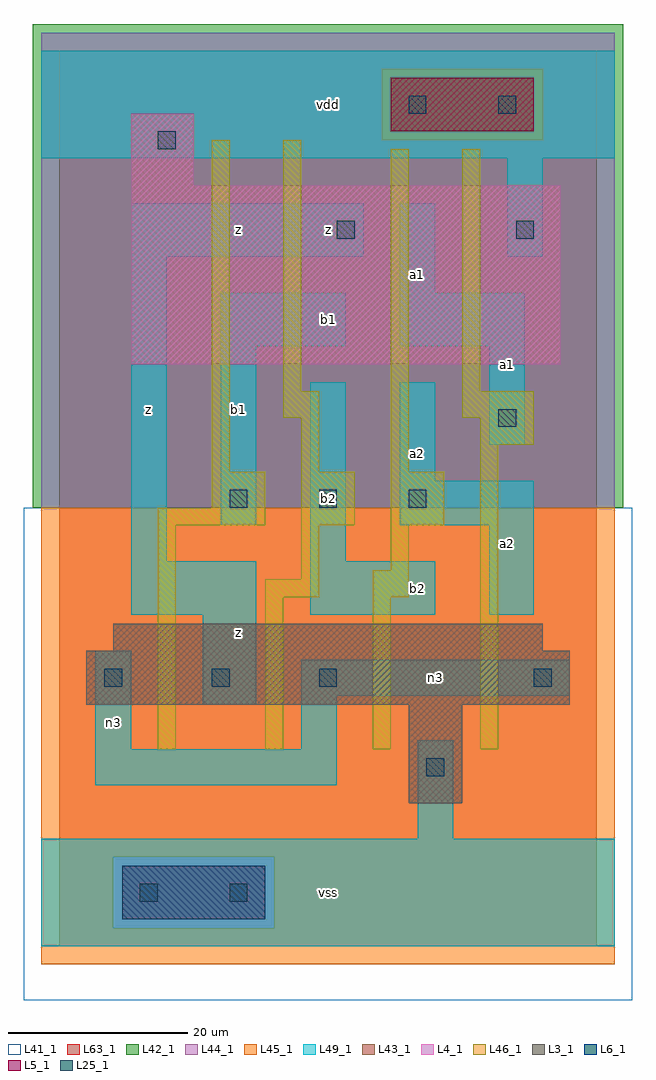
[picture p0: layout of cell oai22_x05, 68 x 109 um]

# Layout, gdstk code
import gdstk
lib = gdstk.Library(unit=1e-6, precision=1e-09)
def R(c, l, rs):  # rectangles x0, y0, x1, y1
    for r in rs: c.add(gdstk.rectangle(r[:2], r[2:], *l))
def A(c, l, x, y, w, h, nx, ny, dx, dy):  # array of equal rectangles
    R(c, l, [(x+i*dx, y+j*dy, x+i*dx+w, y+j*dy+h) for i in range(nx) for j in range(ny)])
L3_1 = (3, 1)
L4_1 = (4, 1)
L5_1 = (5, 1)
L6_1 = (6, 1)
L25_1 = (25, 1)
L41_1 = (41, 1)
L42_1 = (42, 1)
L43_1 = (43, 1)
L44_1 = (44, 1)
L45_1 = (45, 1)
L46_1 = (46, 1)
L49_1 = (49, 1)
L63_1 = (63, 1)

oai22_x05 = lib.new_cell('oai22_x05')
R(oai22_x05, L3_1, [(39,16,45,27), (3,27,57,33), (6,33,54,36)])
R(oai22_x05, L4_1, [(8,65,56,85), (8,85,15,93)])
R(oai22_x05, L5_1, [(37,91,53,97)])
R(oai22_x05, L6_1, [(7,3,23,9)])
A(oai22_x05, L25_1, 5, 29, 2, 2, 3, 1, 12, 0)
A(oai22_x05, L25_1, 19, 49, 2, 2, 3, 1, 10, 0)
R(oai22_x05, L25_1, [(9,5,11,7), (19,5,21,7), (41,19,43,21), (53,29,55,31), (49,58,51,60), (31,79,33,81), (51,79,53,81), (11,89,13,91), (39,93,41,95), (49,93,51,95)])
R(oai22_x05, L41_1, [(-4,-6,64,49), (-3,-3,63,49)])
R(oai22_x05, L42_1, [(-3,49,63,103)])
R(oai22_x05, L43_1, [(7,3,23,9), (39,16,45,27), (3,27,57,33), (6,33,54,36), (8,65,56,85), (8,85,15,93), (37,91,53,97)])
R(oai22_x05, L44_1, [(6,2,24,10), (-2,49,62,90), (-2,90,36,98), (54,90,62,98), (-2,98,62,102)])
R(oai22_x05, L45_1, [(-2,-2,62,2), (-2,2,6,10), (24,2,62,10), (-2,10,62,49), (36,90,54,98)])
R(oai22_x05, L46_1, [(11,22,13,47), (23,22,25,39), (35,22,37,39), (47,22,49,56), (23,39,29,41), (35,39,39,42), (27,41,29,47), (37,42,39,47), (11,47,23,49), (27,47,33,53), (37,47,43,53), (17,49,23,53), (17,53,19,90), (27,53,29,59), (37,53,39,89), (47,56,53,59), (25,59,29,62), (45,59,53,62), (25,62,27,90), (45,62,47,89)])
R(oai22_x05, L49_1, [(-2,0,62,12), (40,12,44,23), (4,18,31,22), (4,22,8,33), (27,22,31,28), (16,27,22,37), (27,28,57,32), (8,37,22,43), (28,37,42,43), (48,37,53,47), (8,43,12,77), (28,43,32,63), (18,47,22,67), (38,47,53,52), (38,52,42,63), (48,56,52,67), (18,67,32,73), (38,67,52,73), (38,73,42,83), (8,77,34,83), (50,77,54,88), (-2,88,62,100)])
R(oai22_x05, L63_1, [(0,0,60,100)])
oai22_x05.add(gdstk.Label('n3', (6,25), layer=49, texttype=1))
oai22_x05.add(gdstk.Label('z', (20,35), layer=49, texttype=1))
oai22_x05.add(gdstk.Label('z', (20,35), layer=49, texttype=1))
oai22_x05.add(gdstk.Label('b1', (20,60), layer=49, texttype=1))
oai22_x05.add(gdstk.Label('b1', (20,60), layer=49, texttype=1))
oai22_x05.add(gdstk.Label('z', (10,60), layer=49, texttype=1))
oai22_x05.add(gdstk.Label('z', (10,60), layer=49, texttype=1))
oai22_x05.add(gdstk.Label('z', (20,80), layer=49, texttype=1))
oai22_x05.add(gdstk.Label('z', (20,80), layer=49, texttype=1))
oai22_x05.add(gdstk.Label('vss', (30,6), layer=49, texttype=1))
oai22_x05.add(gdstk.Label('vss', (30,6), layer=49, texttype=1))
oai22_x05.add(gdstk.Label('b2', (30,50), layer=49, texttype=1))
oai22_x05.add(gdstk.Label('b2', (30,50), layer=49, texttype=1))
oai22_x05.add(gdstk.Label('b1', (30,70), layer=49, texttype=1))
oai22_x05.add(gdstk.Label('b1', (30,70), layer=49, texttype=1))
oai22_x05.add(gdstk.Label('z', (30,80), layer=49, texttype=1))
oai22_x05.add(gdstk.Label('z', (30,80), layer=49, texttype=1))
oai22_x05.add(gdstk.Label('vdd', (30,94), layer=49, texttype=1))
oai22_x05.add(gdstk.Label('vdd', (30,94), layer=49, texttype=1))
oai22_x05.add(gdstk.Label('b2', (40,40), layer=49, texttype=1))
oai22_x05.add(gdstk.Label('b2', (40,40), layer=49, texttype=1))
oai22_x05.add(gdstk.Label('a2', (40,55), layer=49, texttype=1))
oai22_x05.add(gdstk.Label('a2', (40,55), layer=49, texttype=1))
oai22_x05.add(gdstk.Label('a1', (40,75), layer=49, texttype=1))
oai22_x05.add(gdstk.Label('a1', (40,75), layer=49, texttype=1))
oai22_x05.add(gdstk.Label('n3', (42,30), layer=49, texttype=1))
oai22_x05.add(gdstk.Label('a2', (50,45), layer=49, texttype=1))
oai22_x05.add(gdstk.Label('a2', (50,45), layer=49, texttype=1))
oai22_x05.add(gdstk.Label('a1', (50,65), layer=49, texttype=1))
oai22_x05.add(gdstk.Label('a1', (50,65), layer=49, texttype=1))

lib.write_gds('oai22_x05.gds')
